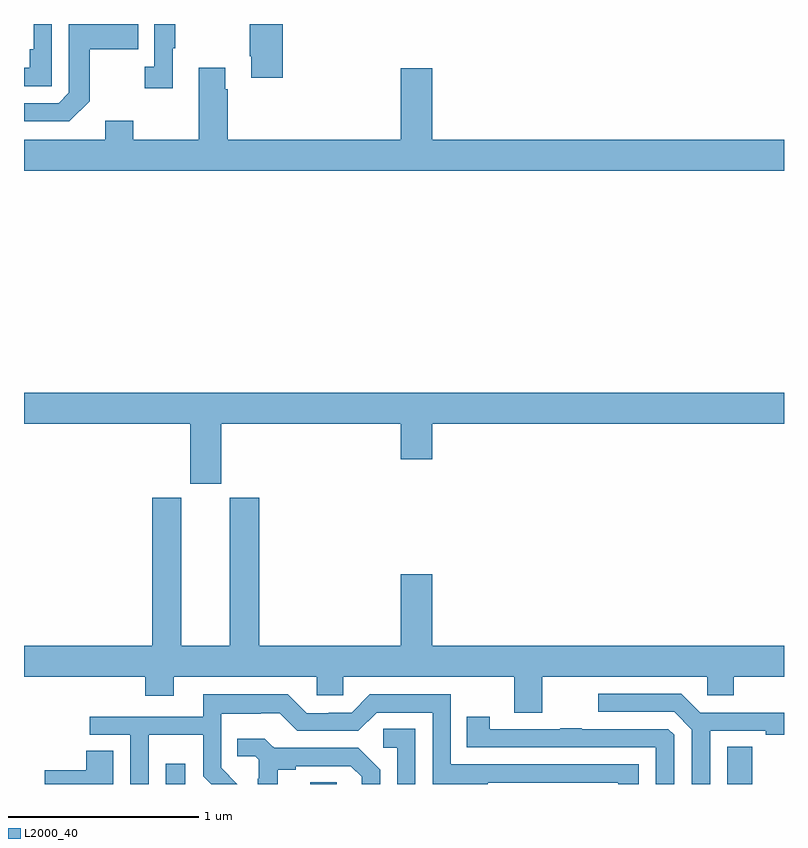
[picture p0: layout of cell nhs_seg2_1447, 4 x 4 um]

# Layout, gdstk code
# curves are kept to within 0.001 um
import gdstk
lib = gdstk.Library(unit=1e-6, precision=1e-09)
def R(c, l, rs):  # rectangles x0, y0, x1, y1
    for r in rs: c.add(gdstk.rectangle(r[:2], r[2:], *l))
def P(c, l, *ps):  # polygons
    for p in ps: c.add(gdstk.Polygon(p, *l))
L2000_40 = (2000, 40)

nhs_seg2_1447 = lib.new_cell('nhs_seg2_1447')
R(nhs_seg2_1447, L2000_40, [(187.745,585.8,187.849,585.907), (188.507,585.8,188.646,585.809), (190.7,585.8,190.834,585.995)])
P(nhs_seg2_1447, L2000_40, [(187.345,589.393),(187.345,589.666),(187.601,589.666),(187.601,589.8),(187.236,589.8),(187.236,589.437),(187.182,589.383),(187,589.383),(187,589.287),(187.239,589.287)],
  [(187.146,589.8),(187.05,589.8),(187.05,589.666),(187.03,589.666),(187.03,589.569),(187,589.569),(187,589.473),(187.146,589.473)],
  [(187.783,589.673),(187.795,589.673),(187.795,589.8),(187.686,589.8),(187.686,589.574),(187.635,589.574),(187.635,589.461),(187.783,589.461)],
  [(188.363,589.8),(188.188,589.8),(188.188,589.63),(188.195,589.63),(188.195,589.518),(188.363,589.518)],
  [(188.059,589.457),(188.059,589.57),(187.919,589.57),(187.919,589.192),(187.575,589.192),(187.575,589.291),(187.427,589.291),(187.427,589.192),(187,589.192),(187,589.028),(191,589.028),(191,589.192),(189.148,589.192),(189.148,589.567),(188.984,589.567),(188.984,589.192),(188.072,589.192),(188.072,589.457)],
  [(188.038,587.696),(188.984,587.696),(188.984,587.508),(189.148,587.508),(189.148,587.696),(191,587.696),(191,587.86),(187,587.86),(187,587.696),(187.874,587.696),(187.874,587.379),(188.038,587.379)],
  [(188.237,587.307),(188.084,587.307),(188.084,586.528),(187.828,586.528),(187.828,587.307),(187.676,587.307),(187.676,586.528),(187,586.528),(187,586.364),(187.637,586.364),(187.637,586.265),(187.789,586.265),(187.789,586.364),(188.541,586.364),(188.541,586.266),(188.679,586.266),(188.679,586.364),(189.58,586.364),(189.58,586.174),(189.727,586.174),(189.727,586.364),(190.596,586.364),(190.596,586.266),(190.735,586.266),(190.735,586.364),(191,586.364),(191,586.528),(189.148,586.528),(189.148,586.903),(188.984,586.903),(188.984,586.528),(188.237,586.528)],
  [(190.611,586.08),(190.904,586.08),(190.904,586.06),(191,586.06),(191,586.176),(190.558,586.176),(190.459,586.275),(190.023,586.275),(190.023,586.179),(190.422,586.179),(190.515,586.086),(190.515,585.8),(190.611,585.8)],
  [(187.656,586.058),(187.944,586.058),(187.944,585.842),(187.986,585.8),(188.122,585.8),(188.037,585.885),(188.037,586.169),(188.246,586.169),(188.246,586.173),(188.346,586.173),(188.439,586.08),(188.76,586.08),(188.856,586.176),(189.15,586.176),(189.15,585.8),(189.441,585.8),(189.441,585.807),(190.128,585.806),(190.128,585.8),(190.236,585.8),(190.236,585.903),(189.246,585.903),(189.246,586.272),(188.82,586.272),(188.724,586.176),(188.604,586.176),(188.604,586.173),(188.487,586.173),(188.387,586.273),(187.943,586.273),(187.943,586.155),(187.347,586.155),(187.347,586.059),(187.56,586.059),(187.56,585.8),(187.656,585.8)],
  [(190.422,586.059),(190.392,586.089),(189.935,586.089),(189.935,586.094),(189.823,586.094),(189.823,586.089),(189.45,586.089),(189.45,586.153),(189.331,586.153),(189.331,585.993),(190.326,585.993),(190.326,585.8),(190.422,585.8)],
  [(189.06,586.091),(188.892,586.091),(188.892,585.99),(188.964,585.99),(188.964,585.8),(189.06,585.8)],
  [(188.335,585.874),(188.431,585.874),(188.431,585.894),(188.72,585.894),(188.777,585.837),(188.777,585.8),(188.874,585.8),(188.874,585.874),(188.758,585.99),(188.316,585.99),(188.268,586.037),(188.122,586.037),(188.122,585.945),(188.217,585.945),(188.235,585.927),(188.235,585.827),(188.231,585.827),(188.231,585.8),(188.335,585.8)],
  [(187.471,585.974),(187.328,585.974),(187.328,585.872),(187.11,585.872),(187.11,585.8),(187.471,585.8)])

lib.write_gds('nhs_seg2_1447.gds')
